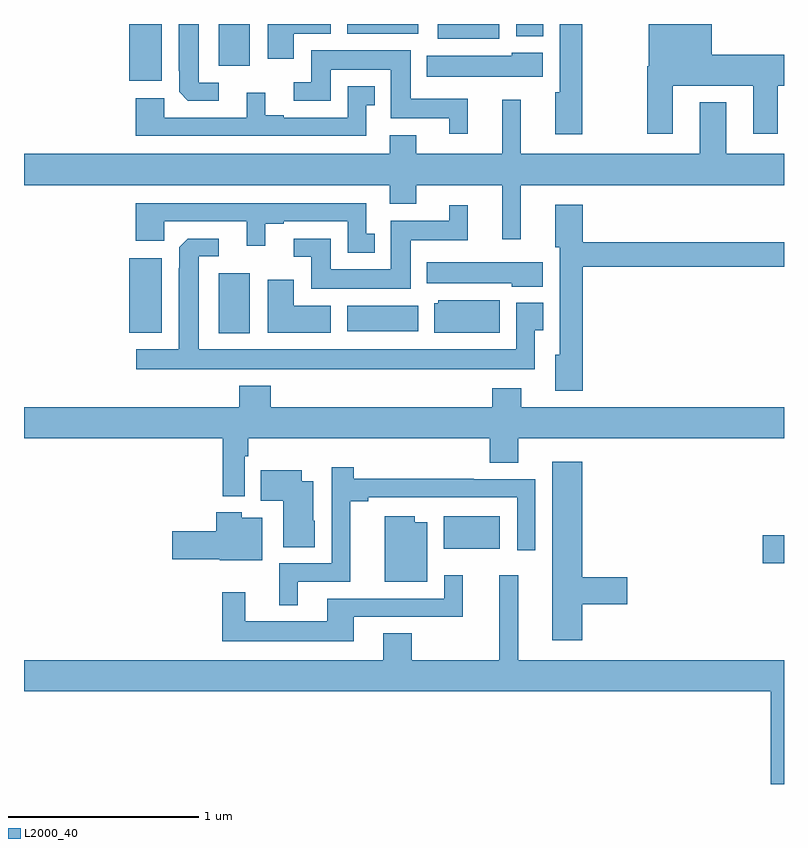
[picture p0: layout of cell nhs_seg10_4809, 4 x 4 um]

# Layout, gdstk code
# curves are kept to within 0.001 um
import gdstk
lib = gdstk.Library(unit=1e-6, precision=1e-09)
def R(c, l, rs):  # rectangles x0, y0, x1, y1
    for r in rs: c.add(gdstk.rectangle(r[:2], r[2:], *l))
def P(c, l, *ps):  # polygons
    for p in ps: c.add(gdstk.Polygon(p, *l))
L2000_40 = (2000, 40)

nhs_seg10_4809 = lib.new_cell('nhs_seg10_4809')
R(nhs_seg10_4809, L2000_40, [(390.888,1295.663,391,1295.81), (389.21,1295.738,389.503,1295.908), (388.025,1296.872,388.189,1297.189), (387.554,1296.875,387.724,1297.267), (388.7,1296.884,389.074,1297.018), (387.554,1298.201,387.724,1298.5), (388.025,1298.28,388.189,1298.5), (389.177,1298.423,389.5,1298.5), (389.592,1298.436,389.734,1298.5), (388.7,1298.45,389.074,1298.5)])
P(nhs_seg10_4809, L2000_40, [(388.42,1298.45),(388.615,1298.45),(388.615,1298.5),(388.283,1298.5),(388.283,1298.316),(388.42,1298.316)],
  [(390.415,1298.174),(390.839,1298.174),(390.839,1297.923),(390.967,1297.923),(390.967,1298.174),(391,1298.174),(391,1298.338),(390.619,1298.338),(390.619,1298.5),(390.287,1298.5),(390.287,1298.278),(390.28,1298.278),(390.28,1297.923),(390.415,1297.923)],
  [(388.024,1298.19),(387.919,1298.19),(387.919,1298.5),(387.815,1298.5),(387.815,1298.254),(387.816,1298.254),(387.816,1298.143),(387.862,1298.097),(388.024,1298.097)],
  [(389.937,1298.5),(389.819,1298.5),(389.819,1298.142),(389.795,1298.142),(389.795,1297.92),(389.937,1297.92)],
  [(389.336,1298.107),(389.035,1298.107),(389.035,1298.362),(388.511,1298.362),(388.511,1298.193),(388.419,1298.193),(388.419,1298.097),(388.615,1298.097),(388.615,1298.258),(388.931,1298.258),(388.931,1298.003),(389.237,1298.003),(389.237,1297.923),(389.336,1297.923)],
  [(389.731,1298.35),(389.568,1298.35),(389.568,1298.332),(389.12,1298.332),(389.12,1298.222),(389.731,1298.222)],
  [(388.8,1298.073),(388.846,1298.073),(388.846,1298.173),(388.704,1298.173),(388.704,1298.007),(388.366,1298.007),(388.366,1298.02),(388.27,1298.02),(388.27,1298.137),(388.172,1298.137),(388.172,1298.007),(387.738,1298.007),(387.738,1298.11),(387.587,1298.11),(387.587,1297.911),(388.8,1297.911)],
  [(389.615,1297.652),(391,1297.652),(391,1297.816),(390.697,1297.816),(390.697,1298.089),(390.557,1298.089),(390.557,1297.816),(389.615,1297.816),(389.615,1298.101),(389.516,1298.101),(389.516,1297.816),(389.065,1297.816),(389.065,1297.915),(388.925,1297.915),(388.925,1297.816),(387,1297.816),(387,1297.652),(388.925,1297.652),(388.925,1297.553),(389.065,1297.553),(389.065,1297.652),(389.516,1297.652),(389.516,1297.368),(389.615,1297.368)],
  [(388.846,1297.395),(388.8,1297.395),(388.8,1297.557),(387.587,1297.557),(387.587,1297.358),(387.738,1297.358),(387.738,1297.461),(388.172,1297.461),(388.172,1297.332),(388.27,1297.332),(388.27,1297.449),(388.366,1297.449),(388.366,1297.461),(388.704,1297.461),(388.704,1297.295),(388.846,1297.295)],
  [(389.942,1297.222),(391,1297.222),(391,1297.351),(389.942,1297.351),(389.942,1297.549),(389.795,1297.549),(389.795,1297.326),(389.819,1297.326),(389.819,1296.759),(389.795,1296.759),(389.795,1296.569),(389.942,1296.569)],
  [(389.035,1297.361),(389.336,1297.361),(389.336,1297.546),(389.237,1297.546),(389.237,1297.465),(388.931,1297.465),(388.931,1297.21),(388.615,1297.21),(388.615,1297.371),(388.419,1297.371),(388.419,1297.275),(388.511,1297.275),(388.511,1297.106),(389.035,1297.106)],
  [(389.689,1296.889),(389.734,1296.889),(389.734,1297.033),(389.592,1297.033),(389.592,1296.787),(387.919,1296.787),(387.919,1297.278),(388.024,1297.278),(388.024,1297.371),(387.862,1297.371),(387.816,1297.325),(387.815,1296.787),(387.591,1296.787),(387.591,1296.683),(389.689,1296.683)],
  [(389.731,1297.246),(389.12,1297.246),(389.12,1297.136),(389.568,1297.136),(389.568,1297.118),(389.731,1297.118)],
  [(388.615,1297.018),(388.42,1297.018),(388.42,1297.153),(388.283,1297.153),(388.283,1296.875),(388.615,1296.875)],
  [(389.503,1297.045),(389.181,1297.045),(389.181,1297.029),(389.159,1297.029),(389.159,1296.875),(389.503,1296.875)],
  [(388.161,1296.224),(388.181,1296.224),(388.181,1296.32),(389.45,1296.32),(389.45,1296.19),(389.602,1296.19),(389.602,1296.32),(391,1296.32),(391,1296.484),(389.617,1296.484),(389.617,1296.583),(389.465,1296.583),(389.465,1296.484),(388.298,1296.484),(388.298,1296.595),(388.133,1296.595),(388.133,1296.484),(387,1296.484),(387,1296.32),(388.045,1296.32),(388.045,1296.014),(388.161,1296.014)],
  [(389.939,1295.446),(390.175,1295.446),(390.175,1295.588),(389.939,1295.588),(389.939,1296.196),(389.78,1296.196),(389.78,1295.256),(389.939,1295.256)],
  [(388.441,1295.565),(388.718,1295.565),(388.718,1295.989),(388.813,1295.989),(388.813,1296.009),(389.595,1296.009),(389.595,1295.73),(389.691,1295.73),(389.691,1296.105),(389.366,1296.105),(389.366,1296.107),(388.736,1296.107),(388.736,1296.166),(388.62,1296.166),(388.62,1295.661),(388.343,1295.661),(388.343,1295.441),(388.441,1295.441)],
  [(388.531,1295.886),(388.522,1295.886),(388.522,1296.094),(388.462,1296.094),(388.462,1296.151),(388.246,1296.151),(388.246,1295.99),(388.364,1295.99),(388.364,1295.746),(388.531,1295.746)],
  [(388.255,1295.902),(388.146,1295.902),(388.146,1295.929),(388.013,1295.929),(388.013,1295.831),(387.78,1295.831),(387.78,1295.684),(388.029,1295.684),(388.029,1295.678),(388.255,1295.678)],
  [(389.122,1295.878),(389.056,1295.878),(389.056,1295.908),(388.898,1295.908),(388.898,1295.564),(389.122,1295.564)],
  [(388.735,1295.379),(389.309,1295.379),(389.309,1295.599),(389.211,1295.599),(389.211,1295.475),(388.595,1295.475),(388.595,1295.356),(388.165,1295.356),(388.165,1295.509),(388.044,1295.509),(388.044,1295.252),(388.735,1295.252)],
  [(391,1295.152),(389.6,1295.152),(389.6,1295.599),(389.501,1295.599),(389.501,1295.152),(389.04,1295.152),(389.04,1295.294),(388.892,1295.294),(388.892,1295.152),(387,1295.152),(387,1294.988),(390.931,1294.988),(390.931,1294.5),(391,1294.5)])

lib.write_gds('nhs_seg10_4809.gds')
